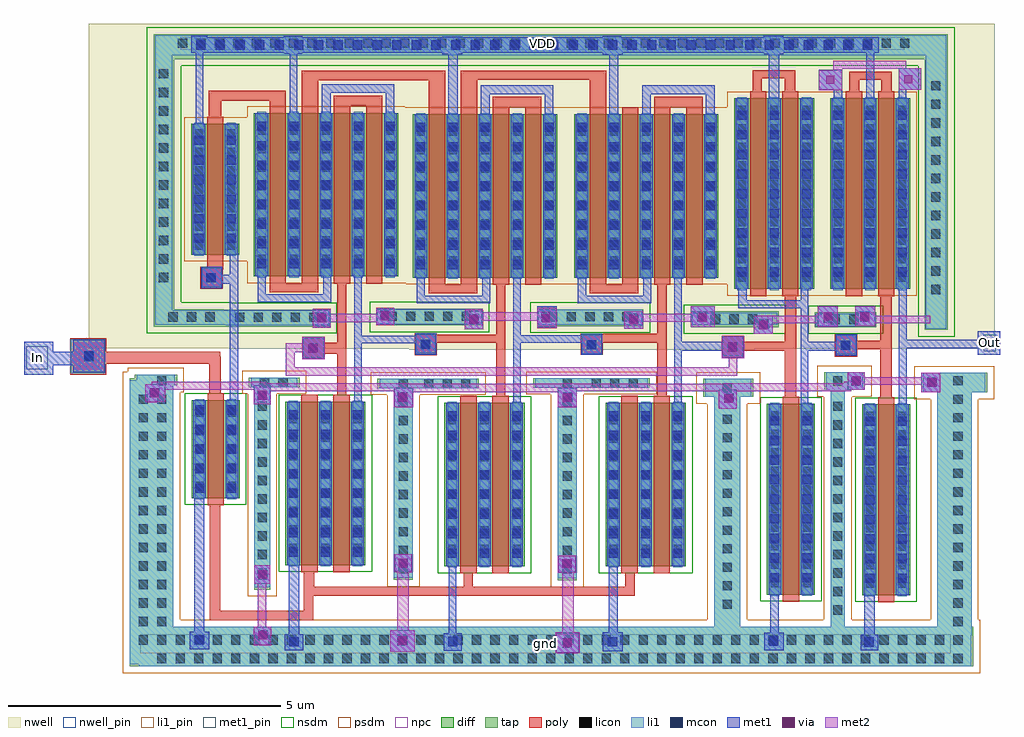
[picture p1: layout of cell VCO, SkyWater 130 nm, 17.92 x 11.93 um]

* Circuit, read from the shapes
.subckt VCO In Out VDD gnd
XM1 n1 In gnd gnd sky130_fd_pr__nfet_01v8 w=1.8 l=0.3
XM2 n2 In gnd gnd sky130_fd_pr__nfet_01v8 w=3 l=0.3
XM3 n3 n4 n2 gnd sky130_fd_pr__nfet_01v8 w=3 l=0.3
XM4 n5 In gnd gnd sky130_fd_pr__nfet_01v8 w=3 l=0.3
XM5 n6 n3 n5 gnd sky130_fd_pr__nfet_01v8 w=3 l=0.3
XM6 n7 In gnd gnd sky130_fd_pr__nfet_01v8 w=3 l=0.3
XM7 n4 n6 n7 gnd sky130_fd_pr__nfet_01v8 w=3 l=0.3
XM8 n8 n4 gnd gnd sky130_fd_pr__nfet_01v8 w=3.5 l=0.3
XM9 Out n8 gnd gnd sky130_fd_pr__nfet_01v8 w=3.5 l=0.3
XM10 n1 n1 VDD VDD sky130_fd_pr__pfet_01v8 w=2.4 l=0.3
XM11 VDD n1 n9 VDD sky130_fd_pr__pfet_01v8 w=3 l=0.3 m=2
XM12 n3 n4 n9 VDD sky130_fd_pr__pfet_01v8 w=3 l=0.3 m=2
XM13 VDD n1 n10 VDD sky130_fd_pr__pfet_01v8 w=3 l=0.3 m=2
XM14 n6 n3 n10 VDD sky130_fd_pr__pfet_01v8 w=3 l=0.3 m=2
XM15 VDD n1 n11 VDD sky130_fd_pr__pfet_01v8 w=3 l=0.3 m=2
XM16 n4 n6 n11 VDD sky130_fd_pr__pfet_01v8 w=3 l=0.3 m=2
XM17 VDD n4 n8 VDD sky130_fd_pr__pfet_01v8 w=3.5 l=0.3 m=2
XM18 VDD n8 Out VDD sky130_fd_pr__pfet_01v8 w=3.5 l=0.3 m=2
.ends

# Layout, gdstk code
import gdstk
lib = gdstk.Library(unit=1e-6, precision=1e-09)
def R(c, l, rs):  # rectangles x0, y0, x1, y1
    for r in rs: c.add(gdstk.rectangle(r[:2], r[2:], *l))
def A(c, l, x, y, w, h, nx, ny, dx, dy):  # array of equal rectangles
    R(c, l, [(x+i*dx, y+j*dy, x+i*dx+w, y+j*dy+h) for i in range(nx) for j in range(ny)])
nwell_pin = (64, 16)
nwell = (64, 20)
diff = (65, 20)
tap = (65, 44)
poly = (66, 20)
licon = (66, 44)
li1_pin = (67, 16)
li1 = (67, 20)
mcon = (67, 44)
met1_pin = (68, 16)
met1 = (68, 20)
via = (68, 44)
met2 = (69, 20)
nsdm = (93, 44)
psdm = (94, 20)
npc = (95, 20)

sky130_fd_pr__nfet_01v8_ = lib.new_cell('sky130_fd_pr__nfet_01v8_7R257D')
R(sky130_fd_pr__nfet_01v8_, diff, [(-0.44,-0.9,0.44,0.9)])
R(sky130_fd_pr__nfet_01v8_, poly, [(-0.15,-1.03,0.15,1.03)])
A(sky130_fd_pr__nfet_01v8_, licon, -0.38, -0.765, 0.17, 0.17, 1, 5, 0, 0.34)
A(sky130_fd_pr__nfet_01v8_, licon, 0.21, -0.765, 0.17, 0.17, 1, 5, 0, 0.34)
R(sky130_fd_pr__nfet_01v8_, li1, [(-0.38,-0.92,-0.21,0.92), (0.21,-0.92,0.38,0.92)])
A(sky130_fd_pr__nfet_01v8_, mcon, -0.38, -0.805, 0.17, 0.17, 1, 5, 0, 0.36)
A(sky130_fd_pr__nfet_01v8_, mcon, 0.21, -0.805, 0.17, 0.17, 1, 5, 0, 0.36)
R(sky130_fd_pr__nfet_01v8_, met1, [(-0.41,-0.9,-0.18,0.9), (0.18,-0.9,0.41,0.9)])
R(sky130_fd_pr__nfet_01v8_, nsdm, [(-0.565,-1.025,0.565,1.025)])

c_sky130_fd_pr__nfet_01v8_ = lib.new_cell('sky130_fd_pr__nfet_01v8_M8KAMF')
R(c_sky130_fd_pr__nfet_01v8_, diff, [(-0.44,-1.5,0.44,1.5)])
R(c_sky130_fd_pr__nfet_01v8_, poly, [(-0.15,-1.63,0.15,1.63)])
A(c_sky130_fd_pr__nfet_01v8_, licon, -0.38, -1.275, 0.17, 0.17, 1, 8, 0, 0.34)
A(c_sky130_fd_pr__nfet_01v8_, licon, 0.21, -1.275, 0.17, 0.17, 1, 8, 0, 0.34)
R(c_sky130_fd_pr__nfet_01v8_, li1, [(-0.38,-1.52,-0.21,1.52), (0.21,-1.52,0.38,1.52)])
A(c_sky130_fd_pr__nfet_01v8_, mcon, -0.38, -1.345, 0.17, 0.17, 1, 8, 0, 0.36)
A(c_sky130_fd_pr__nfet_01v8_, mcon, 0.21, -1.345, 0.17, 0.17, 1, 8, 0, 0.36)
R(c_sky130_fd_pr__nfet_01v8_, met1, [(-0.41,-1.5,-0.18,1.5), (0.18,-1.5,0.41,1.5)])
R(c_sky130_fd_pr__nfet_01v8_, nsdm, [(-0.565,-1.625,0.565,1.625)])

c_sky130_fd_pr__nfet_01v8__ = lib.new_cell('sky130_fd_pr__nfet_01v8_N56T4C')
R(c_sky130_fd_pr__nfet_01v8__, diff, [(-0.44,-1.5,0.44,1.5)])
R(c_sky130_fd_pr__nfet_01v8__, poly, [(-0.15,-1.63,0.15,1.63)])
A(c_sky130_fd_pr__nfet_01v8__, licon, -0.38, -1.275, 0.17, 0.17, 1, 8, 0, 0.34)
A(c_sky130_fd_pr__nfet_01v8__, licon, 0.21, -1.275, 0.17, 0.17, 1, 8, 0, 0.34)
R(c_sky130_fd_pr__nfet_01v8__, li1, [(-0.38,-1.52,-0.21,1.52), (0.21,-1.52,0.38,1.52)])
A(c_sky130_fd_pr__nfet_01v8__, mcon, -0.38, -1.345, 0.17, 0.17, 1, 8, 0, 0.36)
A(c_sky130_fd_pr__nfet_01v8__, mcon, 0.21, -1.345, 0.17, 0.17, 1, 8, 0, 0.36)
R(c_sky130_fd_pr__nfet_01v8__, met1, [(-0.41,-1.5,-0.18,1.5), (0.18,-1.5,0.41,1.5)])
R(c_sky130_fd_pr__nfet_01v8__, nsdm, [(-0.565,-1.625,0.565,1.625)])

c_sky130_fd_pr__nfet_01v8___ = lib.new_cell('sky130_fd_pr__nfet_01v8_ZU5QBV')
R(c_sky130_fd_pr__nfet_01v8___, diff, [(-0.44,-1.75,0.44,1.75)])
R(c_sky130_fd_pr__nfet_01v8___, poly, [(-0.15,-1.88,0.15,1.88)])
A(c_sky130_fd_pr__nfet_01v8___, licon, -0.38, -1.615, 0.17, 0.17, 1, 10, 0, 0.34)
A(c_sky130_fd_pr__nfet_01v8___, licon, 0.21, -1.615, 0.17, 0.17, 1, 10, 0, 0.34)
R(c_sky130_fd_pr__nfet_01v8___, li1, [(-0.38,-1.77,-0.21,1.77), (0.21,-1.77,0.38,1.77)])
A(c_sky130_fd_pr__nfet_01v8___, mcon, -0.38, -1.525, 0.17, 0.17, 1, 9, 0, 0.36)
A(c_sky130_fd_pr__nfet_01v8___, mcon, 0.21, -1.525, 0.17, 0.17, 1, 9, 0, 0.36)
R(c_sky130_fd_pr__nfet_01v8___, met1, [(-0.41,-1.75,-0.18,1.75), (0.18,-1.75,0.41,1.75)])
R(c_sky130_fd_pr__nfet_01v8___, nsdm, [(-0.565,-1.875,0.565,1.875)])

sky130_fd_pr__pfet_01v8_ = lib.new_cell('sky130_fd_pr__pfet_01v8_EKD6RN')
R(sky130_fd_pr__pfet_01v8_, nwell, [(-0.915,-1.81,0.915,1.81)])
R(sky130_fd_pr__pfet_01v8_, diff, [(-0.735,-1.5,0.735,1.5)])
R(sky130_fd_pr__pfet_01v8_, poly, [(-0.445,-1.63,-0.145,1.63), (0.145,-1.63,0.445,1.63)])
A(sky130_fd_pr__pfet_01v8_, licon, -0.675, -1.275, 0.17, 0.17, 3, 8, 0.59, 0.34)
A(sky130_fd_pr__pfet_01v8_, li1, -0.675, -1.52, 0.17, 3.04, 3, 1, 0.59, 0)
A(sky130_fd_pr__pfet_01v8_, mcon, -0.675, -1.345, 0.17, 0.17, 3, 8, 0.59, 0.36)
A(sky130_fd_pr__pfet_01v8_, met1, -0.705, -1.5, 0.23, 3, 3, 1, 0.59, 0)
R(sky130_fd_pr__pfet_01v8_, psdm, [(-0.86,-1.625,0.86,1.625)])

c_sky130_fd_pr__pfet_01v8_ = lib.new_cell('sky130_fd_pr__pfet_01v8_GRHA7T')
R(c_sky130_fd_pr__pfet_01v8_, nwell, [(-0.62,-1.51,0.62,1.51)])
R(c_sky130_fd_pr__pfet_01v8_, diff, [(-0.44,-1.2,0.44,1.2)])
R(c_sky130_fd_pr__pfet_01v8_, poly, [(-0.15,-1.33,0.15,1.33)])
A(c_sky130_fd_pr__pfet_01v8_, licon, -0.38, -1.105, 0.17, 0.17, 1, 7, 0, 0.34)
A(c_sky130_fd_pr__pfet_01v8_, licon, 0.21, -1.105, 0.17, 0.17, 1, 7, 0, 0.34)
R(c_sky130_fd_pr__pfet_01v8_, li1, [(-0.38,-1.22,-0.21,1.22), (0.21,-1.22,0.38,1.22)])
A(c_sky130_fd_pr__pfet_01v8_, mcon, -0.38, -0.985, 0.17, 0.17, 1, 6, 0, 0.36)
A(c_sky130_fd_pr__pfet_01v8_, mcon, 0.21, -0.985, 0.17, 0.17, 1, 6, 0, 0.36)
R(c_sky130_fd_pr__pfet_01v8_, met1, [(-0.41,-1.2,-0.18,1.2), (0.18,-1.2,0.41,1.2)])
R(c_sky130_fd_pr__pfet_01v8_, psdm, [(-0.565,-1.325,0.565,1.325)])

c_sky130_fd_pr__pfet_01v8__ = lib.new_cell('sky130_fd_pr__pfet_01v8_JJT9EJ')
R(c_sky130_fd_pr__pfet_01v8__, nwell, [(-0.915,-2.06,0.915,2.06)])
R(c_sky130_fd_pr__pfet_01v8__, diff, [(-0.735,-1.75,0.735,1.75)])
R(c_sky130_fd_pr__pfet_01v8__, poly, [(-0.445,-1.88,-0.145,1.88), (0.145,-1.88,0.445,1.88)])
A(c_sky130_fd_pr__pfet_01v8__, licon, -0.675, -1.615, 0.17, 0.17, 3, 10, 0.59, 0.34)
A(c_sky130_fd_pr__pfet_01v8__, li1, -0.675, -1.77, 0.17, 3.54, 3, 1, 0.59, 0)
A(c_sky130_fd_pr__pfet_01v8__, mcon, -0.675, -1.525, 0.17, 0.17, 3, 9, 0.59, 0.36)
A(c_sky130_fd_pr__pfet_01v8__, met1, -0.705, -1.75, 0.23, 3.5, 3, 1, 0.59, 0)
R(c_sky130_fd_pr__pfet_01v8__, psdm, [(-0.86,-1.875,0.86,1.875)])

vco = lib.new_cell('VCO')
R(vco, nwell_pin, [(-1.16,4.47,12.12,4.7)])
R(vco, nwell, [(3.03,-1.04,9.37,-1.02), (-0.27,-1.02,13.78,-1.01), (-2.85,-1.01,13.78,4.95)])
R(vco, diff, [(3.68,-5.01,5.15,-2.01), (6.64,-5.01,8.11,-2.01), (3.1,0.29,5.75,3.29), (6.06,0.29,8.71,3.29)])
R(vco, tap, [(-2.1,-6.85,13.39,-6.12), (-2.1,-6.12,-1.3,-1.69), (8.63,-6.12,9.11,-1.9), (10.77,-6.12,11.03,-1.77), (12.73,-6.12,13.36,-1.82), (0.19,-5.44,0.48,-1.72), (5.76,-5.27,6.11,-1.73), (2.75,-5.26,3.1,-1.74), (8.43,-1.9,9.35,-1.57), (12.43,-1.82,13.65,-1.46), (10.65,-1.77,11.4,-1.45), (2.45,-1.74,4.31,-1.57), (5.31,-1.73,7.45,-1.56), (0.09,-1.72,1.02,-1.55), (-2.1,-1.69,-1.23,-1.56), (-2.01,-1.56,-1.23,-1.49), (12.5,-0.67,12.92,4.3), (8.2,-0.62,9.82,-0.33), (10.48,-0.62,11.61,-0.35), (-1.66,-0.61,1.58,-0.3), (5.38,-0.6,7.33,-0.29), (2.43,-0.59,4.38,-0.28), (-1.66,-0.3,-0.37,-0.29), (-1.66,-0.29,-1.28,4.3), (-1.66,4.3,12.92,4.76)])
A(vco, poly, 6.94, 0.16, 0.3, 3.26, 3, 1, 0.59, 0)
R(vco, poly, [(-0.63,-6,1.27,-5.83), (-0.63,-5.83,-0.44,-3.81), (1.1,-5.83,1.27,-5.55), (1.1,-5.55,7.17,-5.39), (1.1,-5.39,1.29,-5.06), (4.03,-5.39,4.2,-5.14), (7,-5.39,7.17,-5.14), (3.97,-5.14,4.27,-1.88), (4.56,-5.14,4.86,-1.88), (6.93,-5.14,7.23,-1.88), (7.52,-5.14,7.82,-1.88), (11.68,-1.92,11.89,-1.03), (9.93,-1.9,10.14,-1.05), (4.63,-1.88,4.8,-0.91), (7.59,-1.88,7.76,-0.91), (1.71,-1.87,1.88,-1.11), (-0.64,-1.84,-0.43,-1.29), (-3.19,-1.49,-2.53,-1.29), (-3.19,-1.29,-0.43,-1.16), (1.07,-1.21,1.48,-1.11), (8.77,-1.19,9.18,-1.05), (-3.19,-1.16,-0.44,-1.07), (10.85,-1.16,11.26,-1.03), (3.13,-1.14,3.54,-0.91), (6.18,-1.13,6.59,-0.91), (1.07,-1.11,1.88,-0.91), (-3.19,-1.07,-2.53,-0.82), (8.77,-1.05,10.14,-0.89), (10.85,-1.03,11.89,-0.87), (1.07,-0.91,1.48,-0.8), (1.71,-0.91,1.88,0.25), (3.13,-0.91,4.8,-0.76), (6.18,-0.91,7.76,-0.74), (8.77,-0.89,9.18,-0.78), (9.93,-0.89,10.14,0.03), (10.85,-0.87,11.26,-0.75), (11.68,-0.87,11.89,0.03), (3.13,-0.76,3.54,-0.73), (4.63,-0.76,4.8,0.16), (7.59,-0.74,7.76,0.16), (3.39,0,4.28,0.16), (6.35,0,7.24,0.16), (0.47,0.02,1.36,0.18), (-0.8,0.08,-0.39,0.44), (3.39,0.16,3.69,3.91), (3.98,0.16,4.28,3.92), (4.57,0.16,4.87,3.42), (5.16,0.16,5.46,3.42), (6.35,0.16,6.65,3.92), (-0.8,0.44,-0.38,0.49), (-0.68,0.49,-0.38,0.7), (-0.65,3.2,-0.42,3.54), (4.57,3.42,5.46,3.61), (7.53,3.42,8.42,3.61), (1.06,3.43,1.36,3.91), (0.47,3.44,0.77,3.54), (1.65,3.44,2.54,3.63), (-0.65,3.54,0.77,3.72), (11.7,3.67,11.89,3.92), (9.93,3.68,10.12,3.95), (11.11,3.68,11.3,3.92), (9.34,3.69,9.51,3.95), (1.06,3.91,3.69,4.09), (3.98,3.92,6.65,4.09), (11.11,3.92,11.89,4.07), (9.34,3.95,10.12,4.1)])
A(vco, licon, -1.595, -6.79, 0.17, 0.17, 44, 1, 0.34, 0)
A(vco, licon, -1.935, -6.45, 0.17, 0.17, 45, 1, 0.34, 0)
A(vco, licon, -1.935, -6.11, 0.17, 0.17, 1, 13, 0, 0.34)
A(vco, licon, -1.595, -6.11, 0.17, 0.17, 1, 14, 0, 0.34)
A(vco, licon, 13.025, -6.11, 0.17, 0.17, 1, 14, 0, 0.34)
A(vco, licon, 10.815, -5.9, 0.17, 0.17, 1, 12, 0, 0.34)
A(vco, licon, 8.785, -5.795, 0.17, 0.17, 1, 11, 0, 0.34)
A(vco, licon, 0.25, -5.22, 0.17, 0.17, 1, 10, 0, 0.34)
A(vco, licon, 2.84, -5.14, 0.17, 0.17, 1, 11, 0, 0.34)
A(vco, licon, 5.85, -5.14, 0.17, 0.17, 1, 10, 0, 0.34)
A(vco, licon, 3.74, -4.785, 0.17, 0.17, 3, 8, 0.59, 0.34)
A(vco, licon, 6.7, -4.785, 0.17, 0.17, 3, 8, 0.59, 0.34)
A(vco, licon, 3.305, -1.74, 0.17, 0.17, 3, 1, 0.34, 0)
A(vco, licon, 6.38, -1.73, 0.17, 0.17, 3, 1, 0.34, 0)
A(vco, licon, 8.57, -0.555, 0.17, 0.17, 3, 1, 0.34, 0)
A(vco, licon, -0.165, -0.525, 0.17, 0.17, 5, 1, 0.34, 0)
A(vco, licon, -1.39, -0.52, 0.17, 0.17, 3, 1, 0.34, 0)
A(vco, licon, 5.585, -0.515, 0.17, 0.17, 5, 1, 0.34, 0)
A(vco, licon, 2.635, -0.505, 0.17, 0.17, 5, 1, 0.34, 0)
A(vco, licon, 12.615, -0.015, 0.17, 0.17, 1, 12, 0, 0.34)
A(vco, licon, -1.565, 0.205, 0.17, 0.17, 1, 12, 0, 0.34)
A(vco, licon, 3.16, 0.515, 0.17, 0.17, 5, 8, 0.59, 0.34)
A(vco, licon, 6.12, 0.515, 0.17, 0.17, 5, 8, 0.59, 0.34)
A(vco, licon, -1.215, 4.505, 0.17, 0.17, 40, 1, 0.34, 0)
R(vco, licon, [(8.785,-1.82,8.955,-1.65), (5.85,-1.73,6.02,-1.56), (0.29,-1.72,0.46,-1.55), (0.63,-1.72,0.8,-1.55), (10.815,-1.695,10.985,-1.525), (-2.93,-1.245,-2.76,-1.075), (1.185,-1.09,1.355,-0.92), (8.885,-1.07,9.055,-0.9), (10.965,-1.04,11.135,-0.87), (6.295,-1.03,6.465,-0.86), (3.245,-1.02,3.415,-0.85), (10.77,-0.565,10.94,-0.395), (11.11,-0.565,11.28,-0.395), (-0.685,0.2,-0.515,0.37)])
R(vco, li1_pin, [(-1.91,-6.61,12.98,-6.26)])
A(vco, li1, 3.74, -5.03, 0.17, 3.04, 3, 1, 0.59, 0)
A(vco, li1, 6.7, -5.03, 0.17, 3.04, 3, 1, 0.59, 0)
A(vco, li1, 3.16, 0.27, 0.17, 3.04, 5, 1, 0.59, 0)
A(vco, li1, 6.12, 0.27, 0.17, 3.04, 5, 1, 0.59, 0)
R(vco, li1, [(-1.93,-6.85,13.35,-6.81), (-2.1,-6.81,13.35,-6.28), (-2.1,-6.28,13.36,-6.12), (-2.1,-6.12,-1.3,-1.69), (8.63,-6.12,9.11,-1.9), (10.77,-6.12,11.03,-1.77), (12.73,-6.12,13.36,-1.82), (0.19,-5.4,0.48,-1.72), (5.76,-5.23,6.11,-1.73), (2.75,-5.22,3.1,-1.74), (8.47,-1.9,9.31,-1.57), (12.47,-1.82,13.61,-1.46), (10.69,-1.77,11.36,-1.45), (2.49,-1.74,4.27,-1.57), (5.35,-1.73,7.41,-1.56), (0.13,-1.72,0.98,-1.55), (-2.1,-1.69,-1.27,-1.6), (-1.97,-1.6,-1.27,-1.49), (-3.18,-1.47,-2.55,-0.84), (1.09,-1.17,1.46,-0.82), (8.79,-1.15,9.16,-0.8), (10.87,-1.12,11.24,-0.77), (6.2,-1.11,6.57,-0.76), (3.15,-1.1,3.52,-0.75), (9.44,-0.65,9.64,-0.58), (12.52,-0.65,12.89,4.37), (10.5,-0.6,11.59,-0.37), (-0.34,-0.59,1.56,-0.58), (-1.63,-0.58,1.56,-0.31), (5.39,-0.58,7.31,-0.3), (8.23,-0.58,9.79,-0.36), (2.44,-0.57,4.36,-0.29), (10.63,-0.37,10.83,-0.35), (11.29,-0.37,11.5,-0.33), (8.31,-0.36,8.5,-0.34), (-1.63,-0.31,-1.32,4.37), (-0.78,0.12,-0.41,0.47), (-1.63,4.37,12.89,4.74)])
A(vco, mcon, 3.74, -4.855, 0.17, 0.17, 3, 8, 0.59, 0.36)
A(vco, mcon, 6.7, -4.855, 0.17, 0.17, 3, 8, 0.59, 0.36)
A(vco, mcon, 3.16, 0.445, 0.17, 0.17, 5, 8, 0.59, 0.36)
A(vco, mcon, 6.12, 0.445, 0.17, 0.17, 5, 8, 0.59, 0.36)
A(vco, mcon, -0.88, 4.475, 0.17, 0.17, 35, 1, 0.36, 0)
R(vco, mcon, [(5.85,-6.505,6.02,-6.335), (11.39,-6.485,11.56,-6.315), (0.83,-6.48,1,-6.31), (6.68,-6.48,6.85,-6.31), (3.745,-6.475,3.915,-6.305), (9.64,-6.47,9.81,-6.3), (2.815,-6.465,2.985,-6.295), (-0.905,-6.445,-0.735,-6.275), (0.265,-6.355,0.435,-6.185), (0.26,-5.255,0.43,-5.085), (5.845,-5.05,6.015,-4.88), (2.84,-5.04,3.01,-4.87), (8.82,-2.01,8.99,-1.84), (5.86,-1.995,6.03,-1.825), (2.825,-1.99,2.995,-1.82), (0.25,-1.955,0.42,-1.785), (-1.73,-1.91,-1.56,-1.74), (12.545,-1.715,12.715,-1.545), (11.15,-1.7,11.32,-1.53), (-2.935,-1.23,-2.765,-1.06), (1.18,-1.09,1.35,-0.92), (8.88,-1.07,9.05,-0.9), (10.96,-1.04,11.13,-0.87), (6.29,-1.03,6.46,-0.86), (3.24,-1.02,3.41,-0.85), (9.455,-0.65,9.625,-0.48), (4.135,-0.55,4.305,-0.38), (7.07,-0.54,7.24,-0.37), (10.645,-0.54,10.815,-0.37), (1.34,-0.53,1.51,-0.36), (11.31,-0.52,11.48,-0.35), (8.32,-0.515,8.49,-0.345), (5.455,-0.51,5.625,-0.34), (2.5,-0.49,2.67,-0.32), (-0.69,0.2,-0.52,0.37)])
R(vco, met1_pin, [(-4,-1.39,-3.6,-0.97), (13.58,-1.06,13.8,-0.76)])
A(vco, met1, 3.71, -5.01, 0.23, 3, 3, 1, 0.59, 0)
A(vco, met1, 6.67, -5.01, 0.23, 3, 3, 1, 0.59, 0)
A(vco, met1, 3.13, 0.29, 0.23, 3, 5, 1, 0.59, 0)
A(vco, met1, 6.09, 0.29, 0.23, 3, 5, 1, 0.59, 0)
R(vco, met1, [(5.73,-6.6,6.15,-6.23), (2.68,-6.58,3.13,-6.19), (6.59,-6.57,6.95,-6.22), (3.67,-6.56,4,-6.24), (0.75,-6.55,1.09,-6.26), (9.55,-6.55,9.91,-6.23), (11.32,-6.55,11.64,-6.27), (-1,-6.53,-0.64,-6.21), (0.18,-6.46,0.5,-6.12), (11.39,-6.27,11.58,-5.51), (0.82,-6.26,1.01,-4.94), (3.76,-6.24,3.9,-5.01), (9.66,-6.23,9.82,-5.49), (6.7,-6.22,6.86,-5.01), (-0.91,-6.21,-0.73,-3.71), (0.19,-5.33,0.48,-4.99), (5.77,-5.12,6.09,-4.82), (2.77,-5.11,3.08,-4.79), (8.72,-2.12,9.05,-1.77), (2.76,-2.09,3.11,-1.73), (5.76,-2.09,6.11,-1.73), (10.22,-2.08,10.36,-1.05), (12.02,-2.06,12.17,-1.01), (0.18,-2.04,0.49,-1.69), (2.02,-2.01,2.16,-0.92), (4.94,-2.01,5.08,-0.91), (7.9,-2.01,8.04,-1.05), (-1.81,-2,-1.45,-1.67), (-0.26,-1.97,-0.11,0.18), (12.43,-1.82,12.78,-1.46), (11.08,-1.77,11.4,-1.45), (-4.04,-1.49,-3.5,-1.32), (-3.14,-1.45,-2.56,-1.32), (-4.04,-1.32,-2.56,-1.07), (1.08,-1.2,1.47,-0.8), (8.78,-1.18,9.17,-1.05), (10.86,-1.15,11.25,-1.05), (3.14,-1.13,3.53,-0.92), (6.19,-1.13,6.58,-0.91), (13.47,-1.13,13.88,-1.01), (-4.04,-1.07,-3.5,-0.89), (-3.14,-1.07,-2.56,-0.85), (7.9,-1.05,9.17,-0.89), (10.22,-1.05,11.25,-0.89), (12.02,-1.01,13.88,-0.85), (2.02,-0.92,3.53,-0.78), (4.94,-0.91,6.58,-0.77), (7.9,-0.89,8.04,0.29), (8.78,-0.89,9.17,-0.78), (10.22,-0.89,10.36,-0.27), (10.86,-0.89,11.25,-0.75), (12.02,-0.85,12.17,0.11), (13.47,-0.85,13.88,-0.7), (2.02,-0.78,2.16,0.35), (3.14,-0.78,3.53,-0.73), (4.94,-0.77,5.08,0.29), (6.19,-0.77,6.58,-0.74), (9.36,-0.74,9.71,-0.41), (4.05,-0.66,4.39,-0.32), (6.98,-0.65,7.33,-0.33), (1.26,-0.63,1.59,-0.3), (5.38,-0.62,5.74,-0.24), (8.2,-0.62,8.64,-0.24), (10.53,-0.61,10.9,-0.24), (11.22,-0.6,11.59,-0.24), (2.43,-0.59,2.76,-0.26), (9.07,-0.27,10.36,-0.13), (3.17,-0.18,4.52,-0.04), (6.13,-0.18,7.48,-0.04), (0.25,-0.16,1.6,-0.02), (9.07,-0.13,9.23,0.13), (10.22,-0.13,10.36,0.14), (3.17,-0.04,3.32,0.29), (4.37,-0.04,4.52,0.29), (6.13,-0.04,6.28,0.29), (7.33,-0.04,7.48,0.29), (0.25,-0.02,0.4,0.35), (1.45,-0.02,1.6,0.34), (-0.79,0.09,-0.4,0.18), (-0.79,0.18,-0.11,0.34), (-0.79,0.34,-0.4,0.49), (-0.26,0.34,-0.11,0.74), (2.02,0.37,2.16,0.39), (2.02,0.39,2.04,0.4), (-0.89,3.1,-0.75,4.415), (0.84,3.28,0.98,4.4), (2.6,3.29,2.76,3.68), (3.75,3.29,3.92,4.39), (4.35,3.29,4.51,3.66), (5.52,3.29,5.68,3.66), (6.71,3.29,6.87,4.38), (7.31,3.29,7.47,3.66), (8.48,3.29,8.64,3.66), (1.43,3.3,1.59,3.68), (12.02,3.49,12.16,3.74), (10.83,3.5,10.98,3.74), (9.63,3.56,9.83,4.39), (11.42,3.57,11.57,4.415), (4.35,3.66,5.68,3.82), (7.31,3.66,8.64,3.82), (1.43,3.68,2.76,3.84), (10.55,3.74,10.98,4.11), (12.02,3.74,12.43,4.13), (6.59,4.38,6.93,4.39), (3.64,4.39,4.01,4.415), (6.59,4.39,6.95,4.415), (9.55,4.39,9.9,4.41), (0.75,4.4,1.06,4.41), (0.73,4.41,1.07,4.415), (9.54,4.41,9.9,4.415), (-0.97,4.415,11.65,4.7), (-0.97,4.7,-0.68,4.73), (0.73,4.7,1.07,4.72), (3.64,4.7,4.01,4.71), (6.59,4.7,6.93,4.72), (9.54,4.7,9.9,4.73)])
R(vco, via, [(5.865,-6.49,6.015,-6.34), (2.83,-6.45,2.98,-6.3), (0.265,-6.35,0.415,-6.2), (0.265,-5.235,0.415,-5.085), (5.855,-5.035,6.005,-4.885), (2.845,-5.025,2.995,-4.875), (8.825,-2.01,8.975,-1.86), (5.855,-1.99,6.005,-1.84), (2.845,-1.98,2.995,-1.83), (0.265,-1.94,0.415,-1.79), (-1.715,-1.905,-1.565,-1.755), (12.555,-1.705,12.705,-1.555), (11.165,-1.675,11.315,-1.525), (1.19,-1.08,1.34,-0.93), (8.89,-1.06,9.04,-0.91), (9.46,-0.655,9.61,-0.505), (7.08,-0.565,7.23,-0.415), (4.145,-0.555,4.295,-0.405), (5.475,-0.535,5.625,-0.385), (1.35,-0.53,1.5,-0.38), (8.345,-0.52,8.495,-0.37), (11.325,-0.505,11.475,-0.355), (10.645,-0.495,10.795,-0.345), (2.52,-0.49,2.67,-0.34), (10.69,3.845,10.84,3.995), (12.12,3.855,12.27,4.005)])
R(vco, met2, [(5.72,-6.61,6.16,-6.22), (2.68,-6.58,3.13,-6.19), (0.18,-6.46,0.5,-6.12), (5.84,-6.22,6.05,-5.13), (2.81,-6.19,3.02,-5.12), (0.25,-6.12,0.41,-5.33), (0.19,-5.33,0.48,-4.99), (5.76,-5.13,6.1,-4.82), (2.76,-5.12,3.09,-4.79), (8.72,-2.12,9.05,-1.8), (2.75,-2.09,3.11,-1.82), (5.76,-2.09,6.11,-1.82), (0.18,-2.04,0.49,-1.8), (-1.81,-2,-1.46,-1.99), (-1.81,-1.99,-1.45,-1.77), (2.75,-1.82,6.11,-1.8), (12.43,-1.82,12.78,-1.68), (0.18,-1.8,11.15,-1.77), (-1.81,-1.77,11.4,-1.68), (-1.81,-1.68,12.78,-1.67), (-1.69,-1.67,12.78,-1.66), (-1.69,-1.66,3.03,-1.65), (5.85,-1.66,6.05,-1.65), (8.8,-1.66,12.78,-1.65), (-1.69,-1.65,0.41,-1.62), (11.01,-1.65,12.78,-1.62), (11.08,-1.62,12.78,-1.54), (11.08,-1.54,11.4,-1.45), (12.43,-1.54,12.78,-1.46), (0.77,-1.51,9.06,-1.36), (0.77,-1.36,0.93,-1.08), (8.9,-1.36,9.06,-1.19), (1.07,-1.21,1.48,-1.08), (8.77,-1.19,9.18,-0.78), (0.77,-1.08,1.48,-0.92), (1.07,-0.92,1.48,-0.8), (9.36,-0.74,9.71,-0.55), (4.05,-0.66,4.39,-0.5), (6.98,-0.65,7.33,-0.52), (5.38,-0.64,5.74,-0.5), (1.26,-0.63,1.59,-0.53), (8.2,-0.62,8.64,-0.52), (10.53,-0.61,10.9,-0.55), (11.22,-0.6,11.59,-0.55), (2.43,-0.59,2.76,-0.53), (9.36,-0.55,10.9,-0.41), (11.22,-0.55,12.6,-0.41), (1.26,-0.53,2.76,-0.37), (6.98,-0.52,8.64,-0.37), (4.05,-0.5,5.74,-0.35), (10.53,-0.41,10.9,-0.24), (11.22,-0.41,11.59,-0.24), (1.26,-0.37,1.59,-0.28), (2.43,-0.37,2.76,-0.26), (6.98,-0.37,7.33,-0.33), (8.2,-0.37,8.64,-0.24), (4.05,-0.35,4.39,-0.32), (5.38,-0.35,5.74,-0.26), (4.06,-0.32,4.38,-0.29), (10.55,3.73,10.98,4.1), (12.02,3.74,12.43,4.12), (10.82,4.1,10.98,4.12), (10.82,4.12,12.43,4.13), (10.82,4.13,12.16,4.27)])
R(vco, nsdm, [(3.555,-5.135,5.275,-1.885), (6.515,-5.135,8.235,-1.885), (12.375,-0.795,13.045,4.175), (8.075,-0.745,9.945,-0.205), (10.355,-0.745,11.735,-0.225), (-1.785,-0.735,1.705,-0.175), (5.255,-0.725,7.455,-0.165), (2.305,-0.715,4.505,-0.155), (-1.785,-0.175,-0.245,-0.165), (-1.785,-0.165,-1.155,4.175), (-1.785,4.175,13.045,4.885)])
R(vco, psdm, [(-2.225,-6.975,13.515,-5.995), (-2.225,-5.995,-1.175,-1.815), (8.505,-5.995,9.235,-2.025), (10.645,-5.995,11.155,-1.895), (12.605,-5.995,13.485,-1.945), (0.065,-5.565,0.605,-1.845), (5.635,-5.395,6.235,-1.855), (2.625,-5.385,3.225,-1.865), (8.305,-2.025,9.475,-1.445), (12.305,-1.945,13.775,-1.335), (10.525,-1.895,11.525,-1.325), (2.325,-1.865,4.435,-1.445), (5.185,-1.855,7.575,-1.435), (-0.035,-1.845,1.145,-1.425), (-2.225,-1.815,-1.105,-1.435), (-2.135,-1.435,-1.105,-1.365), (10.595,-0.045,10.635,3.705), (2.975,0.165,8.875,0.185), (2.955,0.185,8.875,3.415), (0.035,0.585,0.055,3.235)])
R(vco, npc, [(-3.03,-1.345,-2.66,-0.975), (1.085,-1.19,1.455,-0.82), (8.785,-1.17,9.155,-0.8), (10.865,-1.14,11.235,-0.77), (6.195,-1.13,6.565,-0.76), (3.145,-1.12,3.515,-0.75), (-0.785,0.1,-0.415,0.47)])
vco.add(gdstk.Reference(sky130_fd_pr__nfet_01v8_, (-0.52,-2.86)))
vco.add(gdstk.Reference(c_sky130_fd_pr__nfet_01v8_, (1.2,-3.49)))
vco.add(gdstk.Reference(c_sky130_fd_pr__nfet_01v8__, (1.79,-3.49)))
vco.add(gdstk.Reference(c_sky130_fd_pr__nfet_01v8___, (10.04,-3.78)))
vco.add(gdstk.Reference(c_sky130_fd_pr__nfet_01v8___, (11.79,-3.79)))
vco.add(gdstk.Reference(sky130_fd_pr__pfet_01v8_, (2.095,1.81)))
vco.add(gdstk.Reference(sky130_fd_pr__pfet_01v8_, (0.915,1.81)))
vco.add(gdstk.Reference(c_sky130_fd_pr__pfet_01v8_, (-0.53,1.91)))
vco.add(gdstk.Reference(c_sky130_fd_pr__pfet_01v8__, (11.495,1.83)))
vco.add(gdstk.Reference(c_sky130_fd_pr__pfet_01v8__, (9.735,1.83)))
vco.add(gdstk.Label('In', (-3.8,-1.18), layer=68, texttype=16))
vco.add(gdstk.Label('Out', (13.69,-0.91), layer=68, texttype=16))
vco.add(gdstk.Label('gnd', (5.535,-6.435), layer=67, texttype=16))
vco.add(gdstk.Label('VDD', (5.48,4.585), layer=64, texttype=16))

lib.write_gds('VCO.gds')
